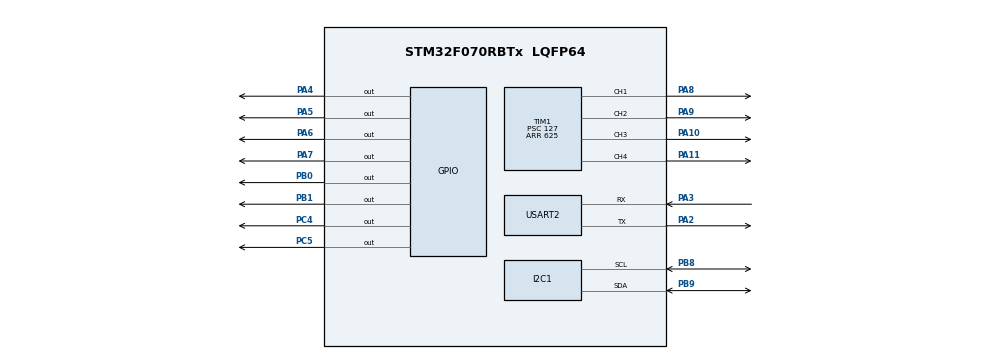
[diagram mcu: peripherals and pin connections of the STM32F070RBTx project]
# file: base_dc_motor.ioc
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Mcu.Family=STM32F0
Mcu.Name=STM32F070RBTx
Mcu.Package=LQFP64
NVIC.USART2_IRQn=true\:0\:0\:false\:false\:true\:true\:true\:true
PA10.Signal=S_TIM1_CH3
PA11.Signal=S_TIM1_CH4
PA13.Mode=Serial_Wire
PA13.Signal=SYS_SWDIO
PA14.Mode=Serial_Wire
PA14.Signal=SYS_SWCLK
PA2.Mode=Asynchronous
PA2.Signal=USART2_TX
PA3.Mode=Asynchronous
PA3.Signal=USART2_RX
PA4.Signal=GPIO_Output
PA5.Signal=GPIO_Output
PA6.Signal=GPIO_Output
PA7.Signal=GPIO_Output
PA8.Signal=S_TIM1_CH1
PA9.Signal=S_TIM1_CH2
PB0.Signal=GPIO_Output
PB1.Signal=GPIO_Output
PB8.Mode=I2C
PB8.Signal=I2C1_SCL
PB9.Mode=I2C
PB9.Signal=I2C1_SDA
PC4.Signal=GPIO_Output
PC5.Signal=GPIO_Output
ProjectManager.HeapSize=0x200
ProjectManager.StackSize=0x400
ProjectManager.TargetToolchain=MDK-ARM V5.32
SH.S_TIM1_CH1.0=TIM1_CH1,PWM Generation1 CH1
SH.S_TIM1_CH2.0=TIM1_CH2,PWM Generation2 CH2
SH.S_TIM1_CH3.0=TIM1_CH3,PWM Generation3 CH3
SH.S_TIM1_CH4.0=TIM1_CH4,PWM Generation4 CH4
TIM1.Channel-PWM\ Generation1\ CH1=TIM_CHANNEL_1
TIM1.Channel-PWM\ Generation2\ CH2=TIM_CHANNEL_2
TIM1.Channel-PWM\ Generation3\ CH3=TIM_CHANNEL_3
TIM1.Channel-PWM\ Generation4\ CH4=TIM_CHANNEL_4
TIM1.Period=625
TIM1.Prescaler=127
USART2.VirtualMode-Asynchronous=VM_ASYNC
VP_TIM1_VS_ClockSourceINT.Mode=Internal
board=custom

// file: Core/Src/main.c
/* USER CODE BEGIN Header */
/**
  ******************************************************************************
  * @file           : main.c
  * @brief          : Main program body
  ******************************************************************************
  * @attention
  *
  * Copyright (c) 2022 STMicroelectronics.
  * All rights reserved.
  *
  * This software is licensed under terms that can be found in the LICENSE file
  * in the root directory of this software component.
  * If no LICENSE file comes with this software, it is provided AS-IS.
  *
  ******************************************************************************
  */
/* USER CODE END Header */
#include "main.h"

/* USER CODE BEGIN Includes */
#include "string.h"
#include "stdlib.h"
/* USER CODE END Includes */

I2C_HandleTypeDef hi2c1;

TIM_HandleTypeDef htim1;

UART_HandleTypeDef huart2;

/* USER CODE BEGIN PV */
int speed =0;
/* USER CODE END PV */

void SystemClock_Config(void);
static void MX_GPIO_Init(void);
static void MX_I2C1_Init(void);
static void MX_TIM1_Init(void);
static void MX_USART2_UART_Init(void);

/* USER CODE BEGIN 0 */
	uint8_t rxbuffer[13];
	char x[5];
	char y[4];
	char state;
	int val1;
	int val2;
	int flag=0;
	int i=0,j=-1,k=-1,l=-1;
/* USER CODE END 0 */

int main(void)
{

  /* MCU Configuration--------------------------------------------------------*/

  /* Reset of all peripherals, Initializes the Flash interface and the Systick. */
  HAL_Init();

  /* Configure the system clock */
  SystemClock_Config();

  /* Initialize all configured peripherals */
  MX_GPIO_Init();
  MX_I2C1_Init();
  MX_TIM1_Init();
  MX_USART2_UART_Init();
  /* USER CODE BEGIN 2 */
	HAL_TIM_PWM_Start(&htim1, TIM_CHANNEL_1);	// Front left
  HAL_TIM_PWM_Start(&htim1, TIM_CHANNEL_2);	// Front right
	HAL_TIM_PWM_Start(&htim1, TIM_CHANNEL_3); // Back left
  HAL_TIM_PWM_Start(&htim1, TIM_CHANNEL_4);	// Back right

	HAL_GPIO_WritePin(GPIOA, GPIO_PIN_4, 0);	// Front left
	HAL_GPIO_WritePin(GPIOA, GPIO_PIN_5, 0);	// Front left
  HAL_GPIO_WritePin(GPIOA, GPIO_PIN_6, 0);  // Front right
  HAL_GPIO_WritePin(GPIOA, GPIO_PIN_7, 0);	// Front right
	HAL_GPIO_WritePin(GPIOB, GPIO_PIN_0, 0);	// Back left
	HAL_GPIO_WritePin(GPIOB, GPIO_PIN_1, 0);	// Back left
	HAL_GPIO_WritePin(GPIOC, GPIO_PIN_4, 0);	// Back right
	HAL_GPIO_WritePin(GPIOC, GPIO_PIN_5, 0);	// Back right
  /* USER CODE END 2 */

  /* Infinite loop */
  /* USER CODE BEGIN WHILE */
  while (1)
  {

	////////////////////////////////////////////////////////

		HAL_I2C_Master_Receive(&hi2c1, (4<<1), (uint8_t *)rxbuffer,13,100);  //Receive data from arduino using I2C

		HAL_UART_Transmit(&huart2,rxbuffer,13,100);

		i=0;
		j=-1;
		k=-1;

		for(i=0; i<13; i++)
		{
			if(rxbuffer[i]==',')
      {
				flag++;
      }
      else if(flag==0)
      {
				j++;
				x[j]=rxbuffer[i];
      }
      else if(flag==1)
      {
				k++;
        y[k]=rxbuffer[i];
      }

		}
		flag = 0;

		val1 = atoi(x);
		val2 = atoi(y);

		if(val1==0 && val2==0)
		{
			speed = 0;
			__HAL_TIM_SET_COMPARE(&htim1,TIM_CHANNEL_1, speed);
			__HAL_TIM_SET_COMPARE(&htim1,TIM_CHANNEL_2, speed);
			__HAL_TIM_SET_COMPARE(&htim1,TIM_CHANNEL_3, speed);
			__HAL_TIM_SET_COMPARE(&htim1,TIM_CHANNEL_4, speed);
		}
		else
		{
			if(val2<340 && val2>270)
		{
			//front
			speed = 1000;
			HAL_GPIO_WritePin(GPIOA, GPIO_PIN_4, 1);	// Front left
			HAL_GPIO_WritePin(GPIOA, GPIO_PIN_5, 0);	// Front left
			__HAL_TIM_SET_COMPARE(&htim1,TIM_CHANNEL_1, speed);

			HAL_GPIO_WritePin(GPIOA, GPIO_PIN_6, 1);  // Front right
			HAL_GPIO_WritePin(GPIOA, GPIO_PIN_7, 0);	// Front right
			__HAL_TIM_SET_COMPARE(&htim1,TIM_CHANNEL_2, speed);

			HAL_GPIO_WritePin(GPIOB, GPIO_PIN_0, 1);	// Back left
			HAL_GPIO_WritePin(GPIOB, GPIO_PIN_1, 0);	// Back left
			__HAL_TIM_SET_COMPARE(&htim1,TIM_CHANNEL_3, speed);

			HAL_GPIO_WritePin(GPIOC, GPIO_PIN_4, 1);	// Back right
			HAL_GPIO_WritePin(GPIOC, GPIO_PIN_5, 0);	// Back right
			__HAL_TIM_SET_COMPARE(&htim1,TIM_CHANNEL_4, speed);

		}

		else if(val2<90 && val2>20)
		{
			//back
			speed = 1000;
			HAL_GPIO_WritePin(GPIOA, GPIO_PIN_4, 0);	// Front left
			HAL_GPIO_WritePin(GPIOA, GPIO_PIN_5, 1);	// Front left

			HAL_GPIO_WritePin(GPIOA, GPIO_PIN_6, 0);  // Front right
			HAL_GPIO_WritePin(GPIOA, GPIO_PIN_7, 1);	// Front right

			HAL_GPIO_WritePin(GPIOB, GPIO_PIN_0, 0);	// Back left
			HAL_GPIO_WritePin(GPIOB, GPIO_PIN_1, 1);	// Back left

			HAL_GPIO_WritePin(GPIOC, GPIO_PIN_4, 0);	// Back right
			HAL_GPIO_WritePin(GPIOC, GPIO_PIN_5, 1);	// Back right

			__HAL_TIM_SET_COMPARE(&htim1,TIM_CHANNEL_1, speed);
			__HAL_TIM_SET_COMPARE(&htim1,TIM_CHANNEL_2, speed);
			__HAL_TIM_SET_COMPARE(&htim1,TIM_CHANNEL_3, speed);
			__HAL_TIM_SET_COMPARE(&htim1,TIM_CHANNEL_4, speed);
		}

		else if(val1<340 && val1>270)
		{
			//left
			speed = 1000;
			HAL_GPIO_WritePin(GPIOA, GPIO_PIN_4, 0);	// Front left
			HAL_GPIO_WritePin(GPIOA, GPIO_PIN_5, 1);	// Front left

			HAL_GPIO_WritePin(GPIOA, GPIO_PIN_6, 1);  // Front right
			HAL_GPIO_WritePin(GPIOA, GPIO_PIN_7, 0);	// Front right

			HAL_GPIO_WritePin(GPIOB, GPIO_PIN_0, 0);	// Back left
			HAL_GPIO_WritePin(GPIOB, GPIO_PIN_1, 1);	// Back left

			HAL_GPIO_WritePin(GPIOC, GPIO_PIN_4, 1);	// Back right
			HAL_GPIO_WritePin(GPIOC, GPIO_PIN_5, 0);	// Back right

			__HAL_TIM_SET_COMPARE(&htim1,TIM_CHANNEL_1, speed);
			__HAL_TIM_SET_COMPARE(&htim1,TIM_CHANNEL_2, speed);
			__HAL_TIM_SET_COMPARE(&htim1,TIM_CHANNEL_3, speed);
			__HAL_TIM_SET_COMPARE(&htim1,TIM_CHANNEL_4, speed);
		}

		else if(val1<90 && val1>20)
		{
			//right
			speed = 1000;
			HAL_GPIO_WritePin(GPIOA, GPIO_PIN_4, 1);	// Front left
			HAL_GPIO_WritePin(GPIOA, GPIO_PIN_5, 0);	// Front left

			HAL_GPIO_WritePin(GPIOA, GPIO_PIN_6, 0);  // Front right
			HAL_GPIO_WritePin(GPIOA, GPIO_PIN_7, 1);	// Front right

			HAL_GPIO_WritePin(GPIOB, GPIO_PIN_0, 1);	// Back left
			HAL_GPIO_WritePin(GPIOB, GPIO_PIN_1, 0);	// Back left

			HAL_GPIO_WritePin(GPIOC, GPIO_PIN_4, 0);	// Back right
			HAL_GPIO_WritePin(GPIOC, GPIO_PIN_5, 1);	// Back right

			__HAL_TIM_SET_COMPARE(&htim1,TIM_CHANNEL_1, speed);
			__HAL_TIM_SET_COMPARE(&htim1,TIM_CHANNEL_2, speed);
			__HAL_TIM_SET_COMPARE(&htim1,TIM_CHANNEL_3, speed);
			__HAL_TIM_SET_COMPARE(&htim1,TIM_CHANNEL_4, speed);
		}

		else
		{
			speed = 0;
			__HAL_TIM_SET_COMPARE(&htim1,TIM_CHANNEL_1, speed);
			__HAL_TIM_SET_COMPARE(&htim1,TIM_CHANNEL_2, speed);
			__HAL_TIM_SET_COMPARE(&htim1,TIM_CHANNEL_3, speed);
			__HAL_TIM_SET_COMPARE(&htim1,TIM_CHANNEL_4, speed);
		}
		}

	//////////////////////////////////////////////////////////////////////////////////////
    /* USER CODE END WHILE */

  }
}

void SystemClock_Config(void)
{
  RCC_OscInitTypeDef RCC_OscInitStruct = {0};
  RCC_ClkInitTypeDef RCC_ClkInitStruct = {0};
  RCC_PeriphCLKInitTypeDef PeriphClkInit = {0};

  /** Initializes the RCC Oscillators according to the specified parameters
  * in the RCC_OscInitTypeDef structure.
  */
  RCC_OscInitStruct.OscillatorType = RCC_OSCILLATORTYPE_HSI;
  RCC_OscInitStruct.HSIState = RCC_HSI_ON;
  RCC_OscInitStruct.HSICalibrationValue = RCC_HSICALIBRATION_DEFAULT;
  RCC_OscInitStruct.PLL.PLLState = RCC_PLL_NONE;
  if (HAL_RCC_OscConfig(&RCC_OscInitStruct) != HAL_OK)
  {
    Error_Handler();
  }

  /** Initializes the CPU, AHB and APB buses clocks
  */
  RCC_ClkInitStruct.ClockType = RCC_CLOCKTYPE_HCLK|RCC_CLOCKTYPE_SYSCLK
                              |RCC_CLOCKTYPE_PCLK1;
  RCC_ClkInitStruct.SYSCLKSource = RCC_SYSCLKSOURCE_HSI;
  RCC_ClkInitStruct.AHBCLKDivider = RCC_SYSCLK_DIV1;
  RCC_ClkInitStruct.APB1CLKDivider = RCC_HCLK_DIV1;

  if (HAL_RCC_ClockConfig(&RCC_ClkInitStruct, FLASH_LATENCY_0) != HAL_OK)
  {
    Error_Handler();
  }
  PeriphClkInit.PeriphClockSelection = RCC_PERIPHCLK_I2C1;
  PeriphClkInit.I2c1ClockSelection = RCC_I2C1CLKSOURCE_HSI;
  if (HAL_RCCEx_PeriphCLKConfig(&PeriphClkInit) != HAL_OK)
  {
    Error_Handler();
  }
}

static void MX_I2C1_Init(void)
{

  hi2c1.Instance = I2C1;
  hi2c1.Init.Timing = 0x2000090E;
  hi2c1.Init.OwnAddress1 = 0;
  hi2c1.Init.AddressingMode = I2C_ADDRESSINGMODE_7BIT;
  hi2c1.Init.DualAddressMode = I2C_DUALADDRESS_DISABLE;
  hi2c1.Init.OwnAddress2 = 0;
  hi2c1.Init.OwnAddress2Masks = I2C_OA2_NOMASK;
  hi2c1.Init.GeneralCallMode = I2C_GENERALCALL_DISABLE;
  hi2c1.Init.NoStretchMode = I2C_NOSTRETCH_DISABLE;
  if (HAL_I2C_Init(&hi2c1) != HAL_OK)
  {
    Error_Handler();
  }

  /** Configure Analogue filter
  */
  if (HAL_I2CEx_ConfigAnalogFilter(&hi2c1, I2C_ANALOGFILTER_ENABLE) != HAL_OK)
  {
    Error_Handler();
  }

  /** Configure Digital filter
  */
  if (HAL_I2CEx_ConfigDigitalFilter(&hi2c1, 0) != HAL_OK)
  {
    Error_Handler();
  }

}

static void MX_TIM1_Init(void)
{

  TIM_ClockConfigTypeDef sClockSourceConfig = {0};
  TIM_MasterConfigTypeDef sMasterConfig = {0};
  TIM_OC_InitTypeDef sConfigOC = {0};
  TIM_BreakDeadTimeConfigTypeDef sBreakDeadTimeConfig = {0};

  htim1.Instance = TIM1;
  htim1.Init.Prescaler = 127;
  htim1.Init.CounterMode = TIM_COUNTERMODE_UP;
  htim1.Init.Period = 625;
  htim1.Init.ClockDivision = TIM_CLOCKDIVISION_DIV1;
  htim1.Init.RepetitionCounter = 0;
  htim1.Init.AutoReloadPreload = TIM_AUTORELOAD_PRELOAD_DISABLE;
  if (HAL_TIM_Base_Init(&htim1) != HAL_OK)
  {
    Error_Handler();
  }
  sClockSourceConfig.ClockSource = TIM_CLOCKSOURCE_INTERNAL;
  if (HAL_TIM_ConfigClockSource(&htim1, &sClockSourceConfig) != HAL_OK)
  {
    Error_Handler();
  }
  if (HAL_TIM_PWM_Init(&htim1) != HAL_OK)
  {
    Error_Handler();
  }
  sMasterConfig.MasterOutputTrigger = TIM_TRGO_RESET;
  sMasterConfig.MasterSlaveMode = TIM_MASTERSLAVEMODE_DISABLE;
  if (HAL_TIMEx_MasterConfigSynchronization(&htim1, &sMasterConfig) != HAL_OK)
  {
    Error_Handler();
  }
  sConfigOC.OCMode = TIM_OCMODE_PWM1;
  sConfigOC.Pulse = 0;
  sConfigOC.OCPolarity = TIM_OCPOLARITY_HIGH;
  sConfigOC.OCNPolarity = TIM_OCNPOLARITY_HIGH;
  sConfigOC.OCFastMode = TIM_OCFAST_DISABLE;
  sConfigOC.OCIdleState = TIM_OCIDLESTATE_RESET;
  sConfigOC.OCNIdleState = TIM_OCNIDLESTATE_RESET;
  if (HAL_TIM_PWM_ConfigChannel(&htim1, &sConfigOC, TIM_CHANNEL_1) != HAL_OK)
  {
    Error_Handler();
  }
  if (HAL_TIM_PWM_ConfigChannel(&htim1, &sConfigOC, TIM_CHANNEL_2) != HAL_OK)
  {
    Error_Handler();
  }
  if (HAL_TIM_PWM_ConfigChannel(&htim1, &sConfigOC, TIM_CHANNEL_3) != HAL_OK)
  {
    Error_Handler();
  }
  if (HAL_TIM_PWM_ConfigChannel(&htim1, &sConfigOC, TIM_CHANNEL_4) != HAL_OK)
  {
    Error_Handler();
  }
  sBreakDeadTimeConfig.OffStateRunMode = TIM_OSSR_DISABLE;
  sBreakDeadTimeConfig.OffStateIDLEMode = TIM_OSSI_DISABLE;
  sBreakDeadTimeConfig.LockLevel = TIM_LOCKLEVEL_OFF;
  sBreakDeadTimeConfig.DeadTime = 0;
  sBreakDeadTimeConfig.BreakState = TIM_BREAK_DISABLE;
  sBreakDeadTimeConfig.BreakPolarity = TIM_BREAKPOLARITY_HIGH;
  sBreakDeadTimeConfig.AutomaticOutput = TIM_AUTOMATICOUTPUT_DISABLE;
  if (HAL_TIMEx_ConfigBreakDeadTime(&htim1, &sBreakDeadTimeConfig) != HAL_OK)
  {
    Error_Handler();
  }
  HAL_TIM_MspPostInit(&htim1);

}

static void MX_USART2_UART_Init(void)
{

  huart2.Instance = USART2;
  huart2.Init.BaudRate = 38400;
  huart2.Init.WordLength = UART_WORDLENGTH_8B;
  huart2.Init.StopBits = UART_STOPBITS_1;
  huart2.Init.Parity = UART_PARITY_NONE;
  huart2.Init.Mode = UART_MODE_TX_RX;
  huart2.Init.HwFlowCtl = UART_HWCONTROL_NONE;
  huart2.Init.OverSampling = UART_OVERSAMPLING_16;
  huart2.Init.OneBitSampling = UART_ONE_BIT_SAMPLE_DISABLE;
  huart2.AdvancedInit.AdvFeatureInit = UART_ADVFEATURE_NO_INIT;
  if (HAL_UART_Init(&huart2) != HAL_OK)
  {
    Error_Handler();
  }

}

static void MX_GPIO_Init(void)
{
  GPIO_InitTypeDef GPIO_InitStruct = {0};

  /* GPIO Ports Clock Enable */
  __HAL_RCC_GPIOA_CLK_ENABLE();
  __HAL_RCC_GPIOC_CLK_ENABLE();
  __HAL_RCC_GPIOB_CLK_ENABLE();

  /*Configure GPIO pin Output Level */
  HAL_GPIO_WritePin(GPIOA, GPIO_PIN_4|GPIO_PIN_5|GPIO_PIN_6|GPIO_PIN_7, GPIO_PIN_RESET);

  /*Configure GPIO pin Output Level */
  HAL_GPIO_WritePin(GPIOC, GPIO_PIN_4|GPIO_PIN_5, GPIO_PIN_RESET);

  /*Configure GPIO pin Output Level */
  HAL_GPIO_WritePin(GPIOB, GPIO_PIN_0|GPIO_PIN_1, GPIO_PIN_RESET);

  /*Configure GPIO pins : PA4 PA5 PA6 PA7 */
  GPIO_InitStruct.Pin = GPIO_PIN_4|GPIO_PIN_5|GPIO_PIN_6|GPIO_PIN_7;
  GPIO_InitStruct.Mode = GPIO_MODE_OUTPUT_PP;
  GPIO_InitStruct.Pull = GPIO_NOPULL;
  GPIO_InitStruct.Speed = GPIO_SPEED_FREQ_LOW;
  HAL_GPIO_Init(GPIOA, &GPIO_InitStruct);

  /*Configure GPIO pins : PC4 PC5 */
  GPIO_InitStruct.Pin = GPIO_PIN_4|GPIO_PIN_5;
  GPIO_InitStruct.Mode = GPIO_MODE_OUTPUT_PP;
  GPIO_InitStruct.Pull = GPIO_NOPULL;
  GPIO_InitStruct.Speed = GPIO_SPEED_FREQ_LOW;
  HAL_GPIO_Init(GPIOC, &GPIO_InitStruct);

  /*Configure GPIO pins : PB0 PB1 */
  GPIO_InitStruct.Pin = GPIO_PIN_0|GPIO_PIN_1;
  GPIO_InitStruct.Mode = GPIO_MODE_OUTPUT_PP;
  GPIO_InitStruct.Pull = GPIO_NOPULL;
  GPIO_InitStruct.Speed = GPIO_SPEED_FREQ_LOW;
  HAL_GPIO_Init(GPIOB, &GPIO_InitStruct);

}

void Error_Handler(void)
{
  __disable_irq();
  while (1)
  {
  }
}
